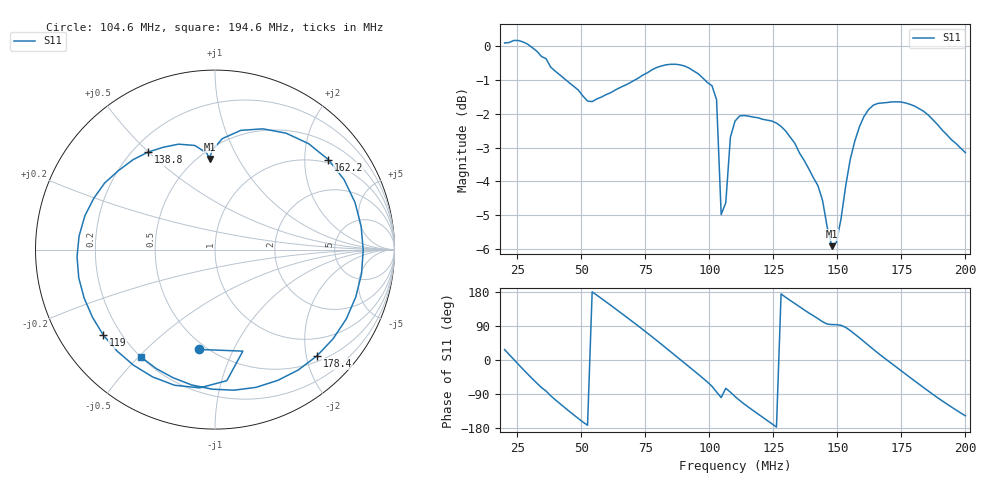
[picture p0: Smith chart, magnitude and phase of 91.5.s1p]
# HZ S RI R 50
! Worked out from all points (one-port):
!   101 points, 20 MHz to 200 MHz, reference 50 ohm
!   lowest |S11| = -5.9 dB at 147.8 MHz (marker M1), VSWR 3.05, Z = 28.3 + j38.4 ohm
!   |S11| at or under -10 dB: nowhere
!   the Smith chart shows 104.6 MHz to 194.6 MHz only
!   S11 on the Smith chart (normalised r, x): 104.6 MHz: 0.46, -0.74; 119 MHz: 0.13, -0.33; 138.8 MHz: 0.26, +0.50; 162.2 MHz: 0.90, +2.59; 178.4 MHz: 0.61, -2.20; 194.6 MHz: 0.20, -0.51
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2e7  0.8968 0.4688
2.54e7  0.9992 -0.207
3.26e7  0.4747 -0.8616
3.8e7  -0.0712 -0.9291
4.34e7  -0.5152 -0.7323
5.42e7  -0.8282 0.00325
6.5e7  -0.5158 0.6989
7.58e7  0.3004 0.8633
8.3e7  0.7967 0.4971
8.84e7  0.9385 0.0367
9.38e7  0.8159 -0.4247
1.01e8  0.3083 -0.8184
1.028e8  0.0818 -0.8297
1.046e8  -0.089 -0.5562
1.064e8  0.1553 -0.5657
1.1e8  -0.0847 -0.7703
1.19e8  -0.6214 -0.4778
1.262e8  -0.7687 -0.0396
1.334e8  -0.615 0.3708
1.388e8  -0.3715 0.5439
1.478e8  -0.0297 0.5048
1.55e8  0.1436 0.6644
1.622e8  0.6311 0.5017
1.694e8  0.8257 -0.00286
1.784e8  0.568 -0.5922
1.856e8  0.1063 -0.7833
1.946e8  -0.4096 -0.6006
2e8  -0.5855 -0.3761
